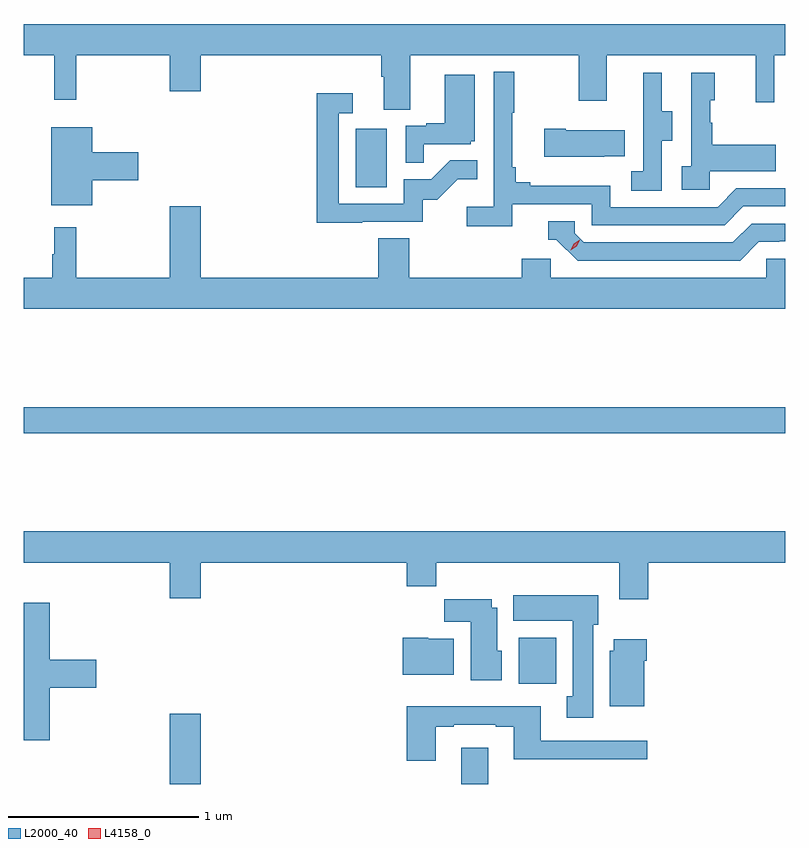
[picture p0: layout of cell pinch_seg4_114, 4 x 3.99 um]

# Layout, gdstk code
import gdstk
lib = gdstk.Library(unit=1e-6, precision=1e-09)
def R(c, l, rs):  # rectangles x0, y0, x1, y1
    for r in rs: c.add(gdstk.rectangle(r[:2], r[2:], *l))
def P(c, l, *ps):  # polygons
    for p in ps: c.add(gdstk.Polygon(p, *l))
L2000_40 = (2000, 40)
L4158_0 = (4158, 0)

pinch_seg4_114 = lib.new_cell('pinch_seg4_114')
R(pinch_seg4_114, L2000_40, [(1052.12,799.653,1052.284,800.023), (1053.653,799.653,1053.793,799.843), (1053.953,800.18,1054.15,800.422), (1051.354,801.496,1055.354,801.632), (1053.098,802.788,1053.262,803.095)])
P(pinch_seg4_114, L2000_40, [(1053.385,803.48),(1054.27,803.48),(1054.27,803.241),(1054.417,803.241),(1054.417,803.48),(1055.198,803.48),(1055.198,803.232),(1055.295,803.232),(1055.295,803.48),(1055.354,803.48),(1055.354,803.644),(1051.354,803.644),(1051.354,803.48),(1051.514,803.48),(1051.514,803.247),(1051.631,803.247),(1051.631,803.48),(1052.12,803.48),(1052.12,803.292),(1052.284,803.292),(1052.284,803.48),(1053.233,803.48),(1053.233,803.368),(1053.245,803.368),(1053.245,803.194),(1053.385,803.194)],
  [(1053.92,802.698),(1054.338,802.698),(1054.338,802.587),(1055.035,802.587),(1055.134,802.686),(1055.354,802.686),(1055.354,802.782),(1055.097,802.782),(1054.998,802.683),(1054.434,802.683),(1054.434,802.795),(1054.015,802.795),(1054.015,802.814),(1053.938,802.814),(1053.938,802.891),(1053.919,802.891),(1053.919,803.179),(1053.931,803.179),(1053.931,803.392),(1053.822,803.392),(1053.822,802.684),(1053.681,802.684),(1053.681,802.582),(1053.92,802.582)],
  [(1054.956,802.871),(1055.303,802.871),(1055.303,803.011),(1054.969,803.011),(1054.969,803.126),(1054.959,803.126),(1054.959,803.244),(1054.984,803.244),(1054.984,803.389),(1054.86,803.389),(1054.86,802.898),(1054.809,802.898),(1054.809,802.773),(1054.956,802.773)],
  [(1054.704,803.032),(1054.759,803.032),(1054.759,803.187),(1054.705,803.187),(1054.705,803.389),(1054.607,803.389),(1054.607,803.175),(1054.608,803.175),(1054.608,802.871),(1054.545,802.871),(1054.545,802.768),(1054.704,802.768)],
  [(1053.455,803.013),(1053.702,803.013),(1053.702,803.028),(1053.724,803.028),(1053.724,803.377),(1053.566,803.377),(1053.566,803.122),(1053.467,803.122),(1053.467,803.109),(1053.36,803.109),(1053.36,802.915),(1053.455,802.915)],
  [(1053.131,802.605),(1053.45,802.605),(1053.45,802.722),(1053.526,802.722),(1053.633,802.829),(1053.737,802.829),(1053.737,802.928),(1053.593,802.928),(1053.495,802.83),(1053.351,802.83),(1053.351,802.701),(1053.009,802.701),(1053.009,803.175),(1053.082,803.175),(1053.082,803.281),(1052.893,803.281),(1052.893,802.6),(1053.131,802.6)],
  [(1051.714,802.823),(1051.957,802.823),(1051.957,802.97),(1051.714,802.97),(1051.714,803.101),(1051.499,803.101),(1051.499,802.691),(1051.714,802.691)],
  [(1054.403,802.949),(1054.511,802.949),(1054.511,803.086),(1054.201,803.086),(1054.201,803.094),(1054.089,803.094),(1054.089,802.946),(1054.403,802.946)],
  [(1055.354,802.41),(1055.253,802.41),(1055.253,802.312),(1054.122,802.312),(1054.122,802.41),(1053.971,802.41),(1053.971,802.312),(1053.38,802.312),(1053.38,802.52),(1053.215,802.52),(1053.215,802.312),(1052.284,802.312),(1052.284,802.687),(1052.12,802.687),(1052.12,802.312),(1051.631,802.312),(1051.631,802.576),(1051.514,802.576),(1051.514,802.436),(1051.503,802.436),(1051.503,802.312),(1051.354,802.312),(1051.354,802.148),(1055.354,802.148)],
  [(1055.215,802.5),(1055.322,802.5),(1055.322,802.503),(1055.354,802.503),(1055.354,802.596),(1055.178,802.596),(1055.079,802.497),(1054.296,802.497),(1054.248,802.545),(1054.248,802.608),(1054.109,802.608),(1054.109,802.512),(1054.152,802.512),(1054.263,802.401),(1055.116,802.401)],
  [(1054.634,800.816),(1055.354,800.816),(1055.354,800.98),(1051.354,800.98),(1051.354,800.816),(1052.12,800.816),(1052.12,800.628),(1052.284,800.628),(1052.284,800.816),(1053.365,800.816),(1053.365,800.692),(1053.521,800.692),(1053.521,800.816),(1054.481,800.816),(1054.481,800.622),(1054.634,800.622)],
  [(1054.345,800.49),(1054.372,800.49),(1054.372,800.644),(1053.926,800.644),(1053.926,800.51),(1054.238,800.51),(1054.238,800.114),(1054.205,800.114),(1054.205,800.001),(1054.345,800.001)],
  [(1053.865,800.352),(1053.841,800.352),(1053.841,800.578),(1053.811,800.578),(1053.811,800.623),(1053.562,800.623),(1053.562,800.504),(1053.701,800.504),(1053.701,800.198),(1053.865,800.198)],
  [(1051.492,800.159),(1051.735,800.159),(1051.735,800.306),(1051.492,800.306),(1051.492,800.605),(1051.354,800.605),(1051.354,799.884),(1051.492,799.884)],
  [(1053.613,800.416),(1053.48,800.416),(1053.48,800.422),(1053.344,800.422),(1053.344,800.228),(1053.613,800.228)],
  [(1054.612,800.3),(1054.625,800.3),(1054.625,800.413),(1054.454,800.413),(1054.454,800.352),(1054.433,800.352),(1054.433,800.06),(1054.612,800.06)],
  [(1053.517,799.953),(1053.613,799.953),(1053.613,799.965),(1053.833,799.965),(1053.833,799.953),(1053.929,799.953),(1053.929,799.784),(1054.63,799.784),(1054.63,799.881),(1054.069,799.881),(1054.069,800.062),(1053.365,800.062),(1053.365,799.776),(1053.517,799.776)])
P(pinch_seg4_114, L4158_0, [(1054.227,802.457),(1054.227,802.457),(1054.243,802.49),(1054.274,802.51),(1054.274,802.51),(1054.274,802.509),(1054.258,802.477),(1054.227,802.457)])

lib.write_gds('pinch_seg4_114.gds')
